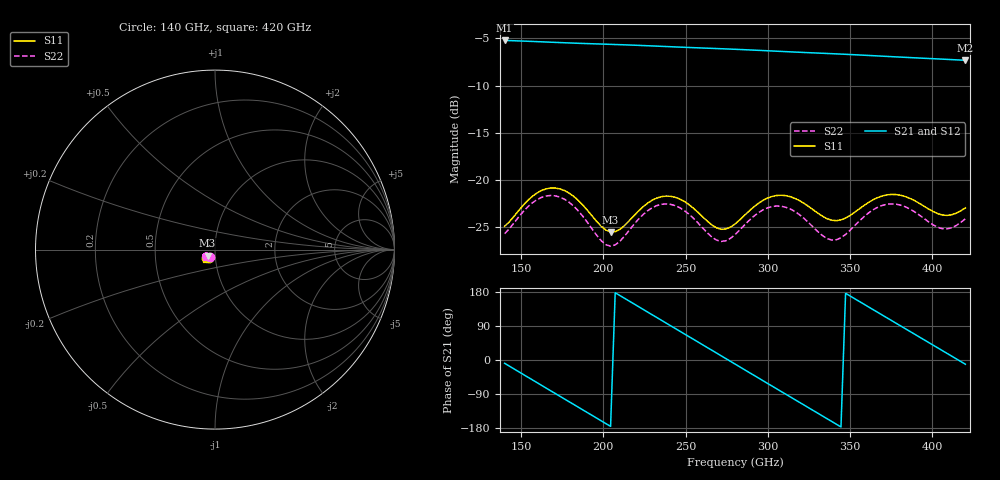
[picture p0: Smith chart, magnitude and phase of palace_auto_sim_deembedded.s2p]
! Created with skrf 1.11.0 (http://scikit-rf.org).
# GHz S DB R 50.0
!freq dBS11 angS11 dBS21 angS21 dBS12 angS12 dBS22 angS22
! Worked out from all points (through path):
!   101 points, 140 GHz to 420 GHz, reference 50 ohm
!   highest |S21| = -5.23 dB at 140 GHz (marker M1); lowest = -7.3 dB at 420 GHz (marker M2)
!   group delay of S21, straight-line fit = 7.17 ps
!   lowest |S11| = -25.5 dB at 204.4 GHz (marker M3), VSWR 1.11, Z = 45.9 - j3.05 ohm
!   |S11| at or under -10 dB: start of sweep to end of sweep
!   |S22| runs from -27.0 to -21.6 dB; largest |S21 - S12| = 6.2e-14
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140  -24.90 -123.3  -5.23 -8.7  -5.23 -8.7  -25.69 -125.4
151.2  -22.70 -118.2  -5.29 -37.7  -5.29 -37.7  -23.37 -121.5
165.2  -20.94 -130.2  -5.39 -74.0  -5.39 -74.0  -21.69 -135.3
176.4  -21.12 -143.2  -5.47 -102.9  -5.47 -102.9  -22.04 -149.4
187.6  -22.67 -152.3  -5.54 -131.8  -5.54 -131.8  -23.86 -159.0
204.4  -25.51 -141.4  -5.64 -175.2  -5.64 -175.2  -27.01 -144.7
218.4  -23.82 -127.4  -5.73 148.5  -5.73 148.5  -24.74 -130.3
235.2  -21.77 -136.7  -5.85 105.1  -5.85 105.1  -22.58 -142.5
254.8  -23.00 -151.6  -5.99 54.5  -5.99 54.5  -24.06 -159.5
268.8  -25.07 -145.5  -6.08 18.3  -6.08 18.3  -26.37 -152.6
280  -24.66 -132.1  -6.16 -10.6  -6.16 -10.6  -25.78 -138.5
294  -22.50 -130.5  -6.27 -46.8  -6.27 -46.8  -23.49 -138.8
305.2  -21.65 -138.2  -6.36 -75.7  -6.36 -75.7  -22.76 -148.2
316.4  -21.95 -146.6  -6.45 -104.6  -6.45 -104.6  -23.34 -157.7
327.6  -23.17 -149.9  -6.54 -133.4  -6.54 -133.4  -25.01 -160.6
338.8  -24.26 -143.6  -6.63 -162.3  -6.63 -162.3  -26.36 -150.4
350  -23.74 -134.2  -6.72 168.8  -6.72 168.8  -25.31 -138.1
364  -22.09 -134.2  -6.84 132.8  -6.84 132.8  -23.15 -140.1
375.2  -21.53 -140.9  -6.94 103.9  -6.94 103.9  -22.53 -148.8
386.4  -21.95 -147.5  -7.04 75.2  -7.04 75.2  -23.08 -156.8
400.4  -23.34 -147.5  -7.16 39.2  -7.16 39.2  -24.75 -156.8
420  -22.95 -134.1  -7.33 -11.2  -7.33 -11.2  -24.10 -141.3
